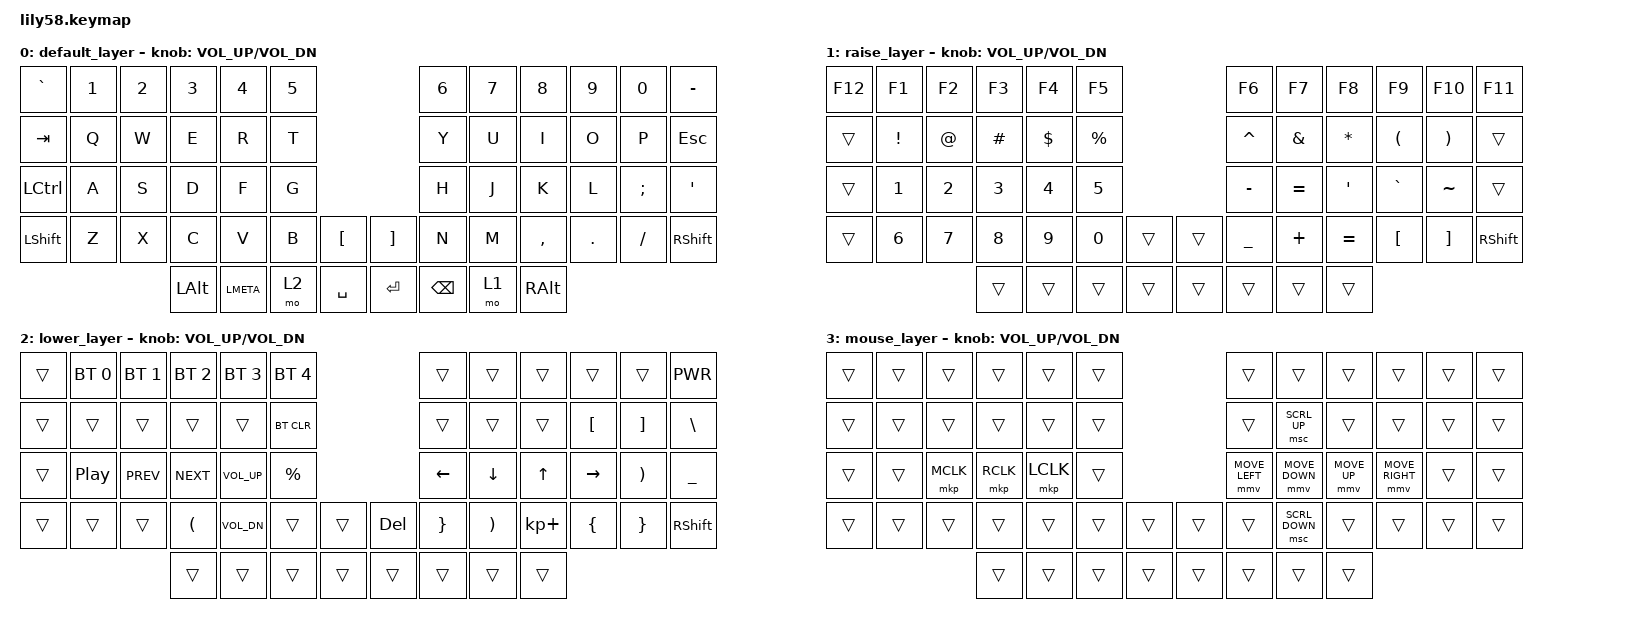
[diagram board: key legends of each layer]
/*
 * Copyright (c) 2020 The ZMK Contributors
 *
 * SPDX-License-Identifier: MIT
 */

#include <behaviors.dtsi>
#include <dt-bindings/zmk/bt.h>
#include <dt-bindings/zmk/keys.h>
#include <dt-bindings/zmk/pointing.h>

/ {
    // Combo keys are a way to combine multiple keypresses to output a different key.

    combos {
        compatible = "zmk,combos";

        combo_clear_bluetooth {
            timeout-ms = <50>; // Press all the below keys within 50ms to activate mapping
            key-positions = <52 42 0>; // Press 52=LOWER, 42=[, 0=tilde
            bindings = <&bt BT_CLR>; // activate clear bluetooth bindings for current channel
        };

        qmark {
            bindings = <&kp QMARK>;
            key-positions = <16 15>;
        };

        slash {
            bindings = <&kp SLASH>;
            key-positions = <28 27>;
        };

        lp {
            bindings = <&kp LEFT_BRACKET>;
            key-positions = <15 27>;
        };

        lpa {
            bindings = <&kp LEFT_PARENTHESIS>;
            key-positions = <16 28>;
        };

        lb {
            bindings = <&kp LEFT_BRACE>;
            key-positions = <29 17>;
        };

        rb {
            bindings = <&kp RIGHT_BRACE>;
            key-positions = <30 18>;
        };

        rp {
            bindings = <&kp RIGHT_PARENTHESIS>;
            key-positions = <31 19>;
        };

        rba {
            bindings = <&kp RIGHT_BRACKET>;
            key-positions = <20 32>;
        };

        abc {
            bindings = <&kp COLON>;
            key-positions = <19 20>;
        };
    };

    // Holding both layer thumb keys (RAISE + LOWER) activates the mouse layer
    conditional_layers {
        compatible = "zmk,conditional-layers";

        mouse_tri_layer {
            if-layers = <1 2>;
            then-layer = <3>;
        };
    };

    keymap {
        compatible = "zmk,keymap";

        default_layer {
            // ------------------------------------------------------------------------------------------------------------
            // |   `   |  1  |  2  |  3   |  4   |  5   |                   |  6   |  7    |  8    |  9   |   0   |   -   |
            // |  TAB  |  Q  |  W  |  E   |  R   |  T   |                   |  Y   |  U    |  I    |  O   |   P   |  ESC  |
            // |  CTRL |  A  |  S  |  D   |  F   |  G   |                   |  H   |  J    |  K    |  L   |   ;   |   '   |
            // | SHIFT |  Z  |  X  |  C   |  V   |  B   |   "["  |  |  "]"  |  N   |  M    |  ,    |  .   |   /   | SHIFT |
            //                     | ALT  | GUI  | LOWER|  SPACE |  | ENTER | BSPC | RAISE | RALT  |

            bindings = <
&kp GRAVE  &kp N1  &kp N2  &kp N3    &kp N4     &kp N5                         &kp N6         &kp N7  &kp N8     &kp N9   &kp N0    &kp MINUS
&kp TAB    &kp Q   &kp W   &kp E     &kp R      &kp T                          &kp Y          &kp U   &kp I      &kp O    &kp P     &kp ESCAPE
&kp LCTRL  &kp A   &kp S   &kp D     &kp F      &kp G                          &kp H          &kp J   &kp K      &kp L    &kp SEMI  &kp SQT
&kp LSHFT  &kp Z   &kp X   &kp C     &kp V      &kp B   &kp LBKT     &kp RBKT  &kp N          &kp M   &kp COMMA  &kp DOT  &kp FSLH  &kp RSHFT
                           &kp LALT  &kp LMETA  &mo 2   &kp SPACE    &kp RET   &kp BACKSPACE  &mo 1   &kp RALT
            >;

            sensor-bindings = <&inc_dec_kp C_VOL_UP C_VOL_DN>;
        };

        raise_layer {
            // ------------------------------------------------------------------------------------------------------------
            // |  F12  |  F1 |  F2 |  F3  |  F4  |  F5  |                   |  F6  |   F7  |   F8  |  F9  |  F10  |  F11  |
            // |       |  !  |  @  |  #   |  $   |  %   |                   |  ^   |   &   |   *   |  (   |   )   |       |
            // |       |  1  |  2  |  3   |  4   |  5   |                   |  -   |   =   |   '   |  `   |   ~   |       |
            // |       |  6  |  7  |  8   |  9   |  0   |        |  |       |  _   |   +   |   =   |  [   |   ]   | SHIFT |
            //                     |      |      |      |        |  |       |      |       |       |

            bindings = <
&kp F12  &kp F1           &kp F2        &kp F3        &kp F4        &kp F5                         &kp F6          &kp F7         &kp F8            &kp F9                &kp F10                &kp F11
&trans   &kp EXCLAMATION  &kp AT_SIGN   &kp HASH      &kp DOLLAR    &kp PERCENT                    &kp CARET       &kp AMPERSAND  &kp ASTERISK      &kp LEFT_PARENTHESIS  &kp RIGHT_PARENTHESIS  &trans
&trans   &kp NUMBER_1     &kp NUMBER_2  &kp NUMBER_3  &kp NUMBER_4  &kp N5                         &kp MINUS       &kp EQUAL      &kp SINGLE_QUOTE  &kp GRAVE             &kp TILDE              &trans
&trans   &kp NUMBER_6     &kp N7        &kp N8        &kp N9        &kp N0       &trans    &trans  &kp UNDERSCORE  &kp PLUS       &kp EQUAL         &kp LBKT              &kp RBKT               &kp RIGHT_SHIFT
                                        &trans        &trans        &trans       &trans    &trans  &trans          &trans         &trans
            >;

            sensor-bindings = <&inc_dec_kp C_VOL_UP C_VOL_DN>;
        };

        lower_layer {
            // ------------------------------------------------------------------------------------------------------------
            // |       | BT1 | BT2 |  BT3 |  BT4 |  BT5 |                   |      |       |       |      |       | POWER |
            // |       |     |     |      |      | BTCLR|                   |      |       |       |  [   |   ]   |   \   |
            // |       |PLAY |PREV | NEXT | VOL+ |  %   |                   |  <-  |   v   |   ^   |  ->  |   )   |   _   |
            // |       |     |     |  (   | VOL- |      |        |  |  DEL  |  }   |   )   |   +   |  {   |   }   | SHIFT |
            //                     |      |      |      |        |  |       |      |       |       |

            bindings = <
&trans  &bt BT_SEL 0  &bt BT_SEL 1  &bt BT_SEL 2  &bt BT_SEL 3     &bt BT_SEL 4                     &trans          &trans    &trans        &trans     &trans    &kp C_PWR
&trans  &trans        &trans        &trans        &trans           &bt BT_CLR                       &trans          &trans    &trans        &kp LBKT   &kp RBKT  &kp BSLH
&trans  &kp C_PP      &kp C_PREV    &kp C_NEXT    &kp C_VOLUME_UP  &kp PRCNT                        &kp LEFT_ARROW  &kp DOWN  &kp UP_ARROW  &kp RIGHT  &kp RPAR  &kp UNDER
&trans  &trans        &trans        &kp LPAR      &kp C_VOL_DN     &trans        &trans    &kp DEL  &kp RBRC        &kp RPAR  &kp KP_PLUS   &kp LBRC   &kp RBRC  &kp RSHFT
                                    &trans        &trans           &trans        &trans    &trans   &trans          &trans    &trans
            >;

            sensor-bindings = <&inc_dec_kp C_VOL_UP C_VOL_DN>;
        };

        mouse_layer {
            // Ativado segurando LOWER + RAISE ao mesmo tempo (tri-layer)
            // ------------------------------------------------------------------------------------------------------------
            // |       |     |     |      |      |      |                   |      |       |       |      |       |       |
            // |       |     |     |      |      |      |                   |      | SCRL^ |       |      |       |       |
            // |       |     | MCLK| RCLK | LCLK |      |                   | M<-  |  Mv   |  M^   | M->  |       |       |
            // |       |     |     |      |      |      |        |  |       |      | SCRLv |       |      |       |       |
            //                     |      |      |      |        |  |       |      |       |       |

            bindings = <
&trans  &trans  &trans     &trans     &trans     &trans                    &trans          &trans          &trans        &trans           &trans  &trans
&trans  &trans  &trans     &trans     &trans     &trans                    &trans          &msc SCRL_UP    &trans        &trans           &trans  &trans
&trans  &trans  &mkp MCLK  &mkp RCLK  &mkp LCLK  &trans                    &mmv MOVE_LEFT  &mmv MOVE_DOWN  &mmv MOVE_UP  &mmv MOVE_RIGHT  &trans  &trans
&trans  &trans  &trans     &trans     &trans     &trans  &trans    &trans  &trans          &msc SCRL_DOWN  &trans        &trans           &trans  &trans
                           &trans     &trans     &trans  &trans    &trans  &trans          &trans          &trans
            >;

            sensor-bindings = <&inc_dec_kp C_VOL_UP C_VOL_DN>;
        };
    };
};
